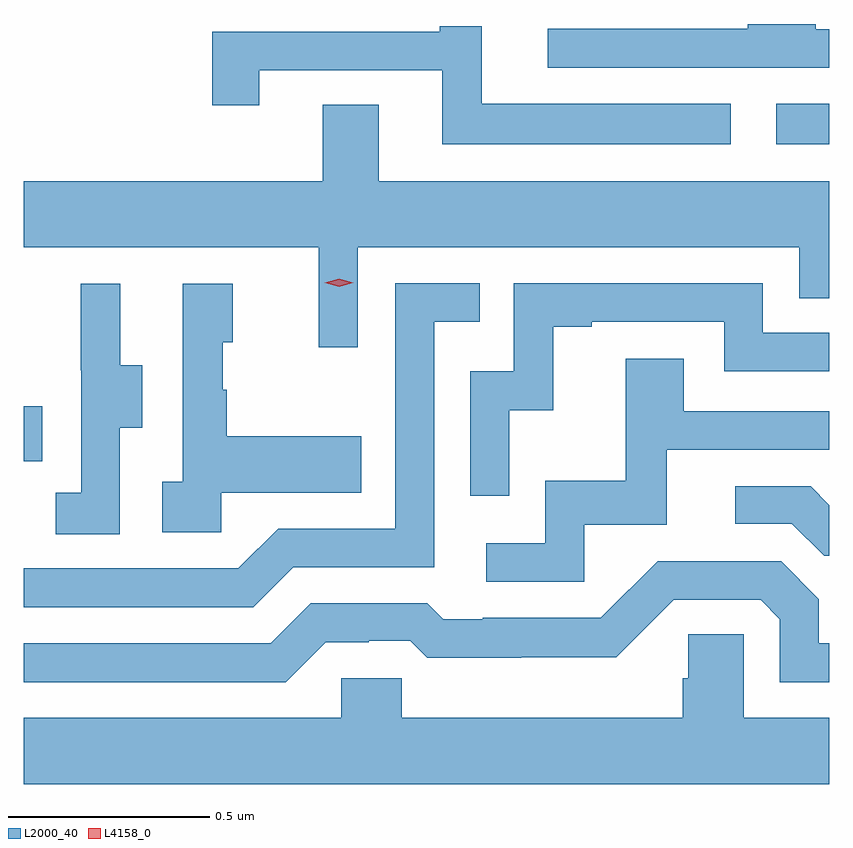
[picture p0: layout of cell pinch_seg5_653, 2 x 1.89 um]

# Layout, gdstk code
import gdstk
lib = gdstk.Library(unit=1e-6, precision=1e-09)
def R(c, l, rs):  # rectangles x0, y0, x1, y1
    for r in rs: c.add(gdstk.rectangle(r[:2], r[2:], *l))
def P(c, l, *ps):  # polygons
    for p in ps: c.add(gdstk.Polygon(p, *l))
L2000_40 = (2000, 40)
L4158_0 = (4158, 0)

pinch_seg5_653 = lib.new_cell('pinch_seg5_653')
R(pinch_seg5_653, L2000_40, [(1046.695,856.229,1046.741,856.366), (1048.563,857.015,1048.695,857.116)])
P(pinch_seg5_653, L2000_40, [(1048.695,857.301),(1048.661,857.301),(1048.661,857.314),(1048.492,857.314),(1048.492,857.302),(1047.996,857.302),(1047.996,857.205),(1048.695,857.205)],
  [(1048.45,857.116),(1047.832,857.116),(1047.832,857.308),(1047.728,857.308),(1047.728,857.295),(1047.163,857.295),(1047.163,857.112),(1047.28,857.112),(1047.28,857.199),(1047.734,857.199),(1047.734,857.015),(1048.45,857.015)],
  [(1047.525,856.76),(1048.62,856.76),(1048.62,856.633),(1048.695,856.633),(1048.695,856.924),(1047.577,856.924),(1047.577,857.114),(1047.437,857.114),(1047.437,856.924),(1046.695,856.924),(1046.695,856.76),(1047.428,856.76),(1047.428,856.512),(1047.525,856.512)],
  [(1047.364,855.966),(1047.714,855.966),(1047.714,856.575),(1047.827,856.575),(1047.827,856.671),(1047.618,856.671),(1047.618,856.062),(1047.327,856.062),(1047.228,855.963),(1046.695,855.963),(1046.695,855.867),(1047.265,855.867)],
  [(1047.9,856.355),(1048.01,856.355),(1048.01,856.563),(1048.105,856.563),(1048.105,856.575),(1048.434,856.575),(1048.434,856.452),(1048.695,856.452),(1048.695,856.548),(1048.53,856.548),(1048.53,856.671),(1047.912,856.671),(1047.912,856.452),(1047.804,856.452),(1047.804,856.143),(1047.9,856.143)],
  [(1046.934,856.312),(1046.989,856.312),(1046.989,856.467),(1046.935,856.467),(1046.935,856.669),(1046.837,856.669),(1046.837,856.455),(1046.838,856.455),(1046.838,856.151),(1046.775,856.151),(1046.775,856.048),(1046.934,856.048)],
  [(1047.186,856.151),(1047.533,856.151),(1047.533,856.291),(1047.199,856.291),(1047.199,856.406),(1047.189,856.406),(1047.189,856.524),(1047.214,856.524),(1047.214,856.669),(1047.09,856.669),(1047.09,856.178),(1047.039,856.178),(1047.039,856.053),(1047.186,856.053)],
  [(1048.086,856.071),(1048.291,856.071),(1048.291,856.257),(1048.695,856.257),(1048.695,856.353),(1048.333,856.353),(1048.333,856.483),(1048.189,856.483),(1048.189,856.18),(1047.99,856.18),(1047.99,856.026),(1047.843,856.026),(1047.843,855.93),(1048.086,855.93)],
  [(1048.695,856.12),(1048.648,856.167),(1048.461,856.167),(1048.461,856.074),(1048.602,856.074),(1048.682,855.994),(1048.695,855.994)],
  [(1047.445,855.78),(1047.552,855.78),(1047.552,855.783),(1047.655,855.783),(1047.697,855.741),(1047.93,855.741),(1047.93,855.743),(1048.166,855.743),(1048.308,855.885),(1048.524,855.885),(1048.572,855.837),(1048.572,855.681),(1048.695,855.681),(1048.695,855.777),(1048.669,855.777),(1048.669,855.887),(1048.575,855.981),(1048.269,855.981),(1048.128,855.84),(1047.835,855.84),(1047.835,855.837),(1047.736,855.837),(1047.697,855.876),(1047.408,855.876),(1047.309,855.777),(1046.695,855.777),(1046.695,855.681),(1047.346,855.681)],
  [(1048.695,855.592),(1048.482,855.592),(1048.482,855.8),(1048.345,855.8),(1048.345,855.69),(1048.331,855.69),(1048.331,855.592),(1047.633,855.592),(1047.633,855.69),(1047.483,855.69),(1047.483,855.592),(1046.695,855.592),(1046.695,855.428),(1048.695,855.428)])
P(pinch_seg5_653, L4158_0, [(1047.478,856.662),(1047.443,856.672),(1047.443,856.672),(1047.443,856.672),(1047.478,856.682),(1047.513,856.672),(1047.513,856.672),(1047.513,856.672)])

lib.write_gds('pinch_seg5_653.gds')
